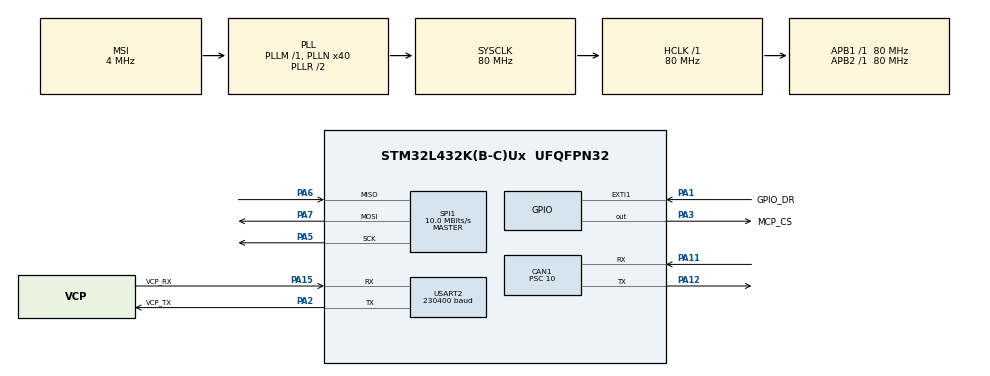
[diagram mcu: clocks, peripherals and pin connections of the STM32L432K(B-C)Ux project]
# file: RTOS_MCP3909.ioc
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CAN1.ABOM=ENABLE
CAN1.AWUM=ENABLE
CAN1.BS1=CAN_BS1_12TQ
CAN1.BS2=CAN_BS2_3TQ
CAN1.CalculateTimeBit=2000
CAN1.CalculateTimeQuantum=125.0
CAN1.Prescaler=10
CAN1.SJW=CAN_SJW_3TQ
Dma.Request0=USART2_RX
Dma.Request1=USART2_TX
Dma.Request2=SPI1_RX
Dma.Request3=SPI1_TX
Dma.SPI1_RX.2.Direction=DMA_PERIPH_TO_MEMORY
Dma.SPI1_RX.2.Instance=DMA1_Channel2
Dma.SPI1_RX.2.MemDataAlignment=DMA_MDATAALIGN_BYTE
Dma.SPI1_RX.2.MemInc=DMA_MINC_ENABLE
Dma.SPI1_RX.2.Mode=DMA_NORMAL
Dma.SPI1_RX.2.PeriphDataAlignment=DMA_PDATAALIGN_BYTE
Dma.SPI1_RX.2.PeriphInc=DMA_PINC_DISABLE
Dma.SPI1_RX.2.Priority=DMA_PRIORITY_HIGH
Dma.SPI1_TX.3.Direction=DMA_MEMORY_TO_PERIPH
Dma.SPI1_TX.3.Instance=DMA1_Channel3
Dma.SPI1_TX.3.MemDataAlignment=DMA_MDATAALIGN_BYTE
Dma.SPI1_TX.3.MemInc=DMA_MINC_ENABLE
Dma.SPI1_TX.3.Mode=DMA_NORMAL
Dma.SPI1_TX.3.PeriphDataAlignment=DMA_PDATAALIGN_BYTE
Dma.SPI1_TX.3.PeriphInc=DMA_PINC_DISABLE
Dma.SPI1_TX.3.Priority=DMA_PRIORITY_MEDIUM
Dma.USART2_RX.0.Direction=DMA_PERIPH_TO_MEMORY
Dma.USART2_RX.0.Instance=DMA1_Channel6
Dma.USART2_RX.0.MemDataAlignment=DMA_MDATAALIGN_BYTE
Dma.USART2_RX.0.MemInc=DMA_MINC_ENABLE
Dma.USART2_RX.0.Mode=DMA_CIRCULAR
Dma.USART2_RX.0.PeriphDataAlignment=DMA_PDATAALIGN_BYTE
Dma.USART2_RX.0.PeriphInc=DMA_PINC_DISABLE
Dma.USART2_RX.0.Priority=DMA_PRIORITY_HIGH
Dma.USART2_TX.1.Direction=DMA_MEMORY_TO_PERIPH
Dma.USART2_TX.1.Instance=DMA1_Channel7
Dma.USART2_TX.1.MemDataAlignment=DMA_MDATAALIGN_BYTE
Dma.USART2_TX.1.MemInc=DMA_MINC_ENABLE
Dma.USART2_TX.1.Mode=DMA_NORMAL
Dma.USART2_TX.1.PeriphDataAlignment=DMA_PDATAALIGN_BYTE
Dma.USART2_TX.1.PeriphInc=DMA_PINC_DISABLE
Dma.USART2_TX.1.Priority=DMA_PRIORITY_MEDIUM
FREERTOS.BinarySemaphores01=mcp3909_DR;mcp3909_RX
FREERTOS.INCLUDE_eTaskGetState=1
FREERTOS.INCLUDE_vTaskDelayUntil=1
FREERTOS.INCLUDE_xQueueGetMutexHolder=1
FREERTOS.INCLUDE_xSemaphoreGetMutexHolder=1
FREERTOS.INCLUDE_xTaskGetCurrentTaskHandle=1
FREERTOS.Tasks01=Application,0,512,doApplication,Default
FREERTOS.Timers01=HBTmr,TmrSendHB,osTimerPeriodic,Default
FREERTOS.configCHECK_FOR_STACK_OVERFLOW=2
FREERTOS.configENABLE_BACKWARD_COMPATIBILITY=0
FREERTOS.configLIBRARY_MAX_SYSCALL_INTERRUPT_PRIORITY=5
FREERTOS.configMAX_PRIORITIES=6
FREERTOS.configMINIMAL_STACK_SIZE=256
FREERTOS.configTIMER_QUEUE_LENGTH=8
FREERTOS.configTIMER_TASK_PRIORITY=5
FREERTOS.configTIMER_TASK_STACK_DEPTH=512
FREERTOS.configTOTAL_HEAP_SIZE=32786
FREERTOS.configUSE_MALLOC_FAILED_HOOK=1
FREERTOS.configUSE_PORT_OPTIMISED_TASK_SELECTION=1
FREERTOS.configUSE_TASK_NOTIFICATIONS=0
FREERTOS.configUSE_TIMERS=1
FREERTOS.configUSE_TRACE_FACILITY=0
Mcu.Family=STM32L4
Mcu.Name=STM32L432K(B-C)Ux
Mcu.Package=UFQFPN32
NVIC.CAN1_RX0_IRQn=true\:5\:0\:true\:false\:true\:true
NVIC.CAN1_RX1_IRQn=true\:5\:0\:true\:false\:true\:true
NVIC.CAN1_SCE_IRQn=true\:5\:0\:true\:false\:true\:true
NVIC.CAN1_TX_IRQn=true\:5\:0\:true\:false\:true\:true
NVIC.DMA1_Channel2_IRQn=true\:6\:0\:true\:false\:true\:true
NVIC.DMA1_Channel3_IRQn=true\:6\:0\:true\:false\:true\:true
NVIC.DMA1_Channel6_IRQn=true\:6\:0\:true\:false\:true\:true
NVIC.DMA1_Channel7_IRQn=true\:6\:0\:true\:false\:true\:true
NVIC.PriorityGroup=NVIC_PRIORITYGROUP_4
NVIC.SPI1_IRQn=true\:6\:0\:true\:false\:true\:true
NVIC.TIM6_DAC_IRQn=true\:0\:0\:false\:false\:true\:false
NVIC.TimeBase=TIM6_DAC_IRQn
NVIC.TimeBaseIP=TIM6
NVIC.USART2_IRQn=true\:5\:0\:false\:false\:true\:true
PA1.GPIO_Label=GPIO_DR
PA1.GPIO_ModeDefaultEXTI=GPIO_MODE_IT_FALLING
PA1.Signal=GPXTI1
PA11.Mode=Master
PA11.Signal=CAN1_RX
PA12.Mode=Master
PA12.Signal=CAN1_TX
PA13\ (JTMS-SWDIO).Mode=Serial_Wire
PA13\ (JTMS-SWDIO).Signal=SYS_JTMS-SWDIO
PA14\ (JTCK-SWCLK).Mode=Serial_Wire
PA14\ (JTCK-SWCLK).Signal=SYS_JTCK-SWCLK
PA15\ (JTDI).GPIO_Label=VCP_RX
PA15\ (JTDI).Mode=Asynchronous
PA15\ (JTDI).Signal=USART2_RX
PA2.GPIO_Label=VCP_TX
PA2.Mode=Asynchronous
PA2.Signal=USART2_TX
PA3.GPIO_Label=MCP_CS
PA3.GPIO_ModeDefaultOutputPP=GPIO_MODE_OUTPUT_OD
PA3.GPIO_PuPd=GPIO_PULLUP
PA3.PinState=GPIO_PIN_SET
PA3.Signal=GPIO_Output
PA5.Mode=Full_Duplex_Master
PA5.Signal=SPI1_SCK
PA6.Mode=Full_Duplex_Master
PA6.Signal=SPI1_MISO
PA7.Mode=Full_Duplex_Master
PA7.Signal=SPI1_MOSI
ProjectManager.HeapSize=0x200
ProjectManager.StackSize=0x400
ProjectManager.TargetToolchain=SW4STM32
RCC.ADCCLockSelection=RCC_ADCCLKSOURCE_SYSCLK
RCC.ADCFreq_Value=80000000
RCC.AHBFreq_Value=80000000
RCC.APB1Freq_Value=80000000
RCC.APB1TimFreq_Value=80000000
RCC.APB2Freq_Value=80000000
RCC.APB2TimFreq_Value=80000000
RCC.CortexFreq_Value=80000000
RCC.HCLKFreq_Value=80000000
RCC.HSE_VALUE=8000000
RCC.HSI16_VALUE=16000000
RCC.HSI48_VALUE=48000000
RCC.HSI_VALUE=16000000
RCC.LSE_VALUE=32768
RCC.MSI_VALUE=4000000
RCC.PLLMUL=RCC_PLLMUL_4
RCC.PLLN=40
RCC.PLLSAI1N=40
RCC.PREFETCH_ENABLE=1
RCC.SYSCLKFreq_VALUE=80000000
RCC.SYSCLKSource=RCC_SYSCLKSOURCE_PLLCLK
RCC.USBFreq_Value=80000000
RCC.VCOOutputFreq_Value=160000000
SPI1.BaudRatePrescaler=SPI_BAUDRATEPRESCALER_8
SPI1.CLKPhase=SPI_PHASE_1EDGE
SPI1.CLKPolarity=SPI_POLARITY_LOW
SPI1.CalculateBaudRate=10.0 MBits/s
SPI1.DataSize=SPI_DATASIZE_8BIT
SPI1.FirstBit=SPI_FIRSTBIT_MSB
SPI1.Mode=SPI_MODE_MASTER
SPI1.NSSPMode=SPI_NSS_PULSE_DISABLE
SPI1.TIMode=SPI_TIMODE_DISABLE
USART2.BaudRate=230400
USART2.WordLength=UART_WORDLENGTH_8B
VP_FREERTOS_VS_ENABLE.Mode=Enabled
VP_SYS_VS_tim6.Mode=TIM6
VP_WWDG_VS_WWDG.Mode=WWDG_Activate
WWDG.Counter=127
WWDG.Prescaler=WWDG_PRESCALER_8
WWDG.Window=127
board=NUCLEO-L432KC

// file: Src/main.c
/**
  ******************************************************************************
  * File Name          : main.c
  * Description        : Main program body
  ******************************************************************************
  *
  * Copyright (c) 2017 STMicroelectronics International N.V.
  * All rights reserved.
  *
  * Redistribution and use in source and binary forms, with or without
  * modification, are permitted, provided that the following conditions are met:
  *
  * 1. Redistribution of source code must retain the above copyright notice,
  *    this list of conditions and the following disclaimer.
  * 2. Redistributions in binary form must reproduce the above copyright notice,
  *    this list of conditions and the following disclaimer in the documentation
  *    and/or other materials provided with the distribution.
  * 3. Neither the name of STMicroelectronics nor the names of other
  *    contributors to this software may be used to endorse or promote products
  *    derived from this software without specific written permission.
  * 4. This software, including modifications and/or derivative works of this
  *    software, must execute solely and exclusively on microcontroller or
  *    microprocessor devices manufactured by or for STMicroelectronics.
  * 5. Redistribution and use of this software other than as permitted under
  *    this license is void and will automatically terminate your rights under
  *    this license.
  *
  * THIS SOFTWARE IS PROVIDED BY STMICROELECTRONICS AND CONTRIBUTORS "AS IS"
  * AND ANY EXPRESS, IMPLIED OR STATUTORY WARRANTIES, INCLUDING, BUT NOT
  * LIMITED TO, THE IMPLIED WARRANTIES OF MERCHANTABILITY, FITNESS FOR A
  * PARTICULAR PURPOSE AND NON-INFRINGEMENT OF THIRD PARTY INTELLECTUAL PROPERTY
  * RIGHTS ARE DISCLAIMED TO THE FULLEST EXTENT PERMITTED BY LAW. IN NO EVENT
  * SHALL STMICROELECTRONICS OR CONTRIBUTORS BE LIABLE FOR ANY DIRECT, INDIRECT,
  * INCIDENTAL, SPECIAL, EXEMPLARY, OR CONSEQUENTIAL DAMAGES (INCLUDING, BUT NOT
  * LIMITED TO, PROCUREMENT OF SUBSTITUTE GOODS OR SERVICES; LOSS OF USE, DATA,
  * OR PROFITS; OR BUSINESS INTERRUPTION) HOWEVER CAUSED AND ON ANY THEORY OF
  * LIABILITY, WHETHER IN CONTRACT, STRICT LIABILITY, OR TORT (INCLUDING
  * NEGLIGENCE OR OTHERWISE) ARISING IN ANY WAY OUT OF THE USE OF THIS SOFTWARE,
  * EVEN IF ADVISED OF THE POSSIBILITY OF SUCH DAMAGE.
  *
  ******************************************************************************
  */
#include "main.h"
#include "stm32l4xx_hal.h"
#include "cmsis_os.h"

/* USER CODE BEGIN Includes */
#include "../../CAN_ID.h"
#include "mcp3909.h"
/* USER CODE END Includes */

CAN_HandleTypeDef hcan1;

SPI_HandleTypeDef hspi1;
DMA_HandleTypeDef hdma_spi1_rx;
DMA_HandleTypeDef hdma_spi1_tx;

UART_HandleTypeDef huart2;
DMA_HandleTypeDef hdma_usart2_rx;
DMA_HandleTypeDef hdma_usart2_tx;

WWDG_HandleTypeDef hwwdg;

osThreadId ApplicationHandle;
osTimerId HBTmrHandle;
osSemaphoreId mcp3909_DRHandle;
osSemaphoreId mcp3909_RXHandle;

/* USER CODE BEGIN PV */
/* Private variables ---------------------------------------------------------*/
MCP3909HandleTypeDef hmcp1;
uint8_t mcpRxBuf[REG_LEN * REGS_NUM];
uint8_t mcpTxBuf[REG_LEN * REGS_NUM + CTRL_LEN];
/* USER CODE END PV */

void SystemClock_Config(void);
void Error_Handler(void);
static void MX_GPIO_Init(void);
static void MX_DMA_Init(void);
static void MX_CAN1_Init(void);
static void MX_USART2_UART_Init(void);
static void MX_WWDG_Init(void);
static void MX_SPI1_Init(void);
void doApplication(void const * argument);
void TmrSendHB(void const * argument);

/* USER CODE BEGIN PFP */
/* Private function prototypes -----------------------------------------------*/
void EM_Init(void);
/* USER CODE END PFP */

/* USER CODE BEGIN 0 */

void EM_Init(){
	hmcp1.phase[0] = 0;
	hmcp1.phase[1] = 0;
	hmcp1.phase[2] = 0;

	for(uint8_t i= 0; i < MAX_CHANNEL_NUM; i++){
		hmcp1.channel[i].PGA = PGA_1;
		hmcp1.channel[i].boost = BOOST_OFF;
		hmcp1.channel[i].dither = DITHER_ON;
		hmcp1.channel[i].reset = RESET_OFF;
		hmcp1.channel[i].shutdown = SHUTDOWN_OFF;
		hmcp1.channel[i].resolution = RES_16;
	}

	hmcp1.extCLK = 0;
	hmcp1.extVREF = 0;
	hmcp1.hspi = &hspi1;
	hmcp1.osr = OSR_32;
	hmcp1.prescale = PRESCALE_1;
	hmcp1.readType = READ_TYPE;

	hmcp1.pRxBuf = mcpRxBuf;
	hmcp1.pTxBuf = mcpTxBuf;

	HAL_NVIC_SetPriority(EXTI1_IRQn, 6, 0); // set DR pin interrupt priority
	mcp3909_init(&hmcp1);
}

// Data Ready pin triggered callback (PA1)
void HAL_GPIO_EXTI_Callback(uint16_t pinNum){
	HAL_NVIC_DisableIRQ(EXTI1_IRQn);
	mcp3909_readAllChannels(&hmcp1,hmcp1.pRxBuf);
}

// SPI DMA read channels complete callback
void HAL_SPI_TxRxCpltCallback(SPI_HandleTypeDef *hspi){
	// Check which SPI issued interrupt
	if(hspi == (hmcp1.hspi)){
		HAL_GPIO_WritePin(MCP_CS_GPIO_Port,MCP_CS_Pin, GPIO_PIN_SET);
		xSemaphoreGiveFromISR(mcp3909_RXHandle, NULL);
	}
}

// SPI DMA write reg complete callback
void HAL_SPI_TxCpltCallback(SPI_HandleTypeDef *hspi){
	// Check which SPI issued interrupt
	if(hspi == (hmcp1.hspi)){
		HAL_GPIO_WritePin(MCP_CS_GPIO_Port,MCP_CS_Pin, GPIO_PIN_SET);
	}
}
/* USER CODE END 0 */

int main(void)
{

  /* MCU Configuration----------------------------------------------------------*/

  /* Reset of all peripherals, Initializes the Flash interface and the Systick. */
  HAL_Init();

  /* Configure the system clock */
  SystemClock_Config();

  /* Initialize all configured peripherals */
  MX_GPIO_Init();
  MX_DMA_Init();
  MX_CAN1_Init();
  MX_USART2_UART_Init();
  MX_WWDG_Init();
  MX_SPI1_Init();

  /* USER CODE BEGIN 2 */
  EM_Init();
  HAL_WWDG_Refresh(&hwwdg);
  /* USER CODE END 2 */

  /* Create the semaphores(s) */
  /* definition and creation of mcp3909_DR */
  osSemaphoreDef(mcp3909_DR);
  mcp3909_DRHandle = osSemaphoreCreate(osSemaphore(mcp3909_DR), 1);

  /* definition and creation of mcp3909_RX */
  osSemaphoreDef(mcp3909_RX);
  mcp3909_RXHandle = osSemaphoreCreate(osSemaphore(mcp3909_RX), 1);

  /* Create the timer(s) */
  /* definition and creation of HBTmr */
  osTimerDef(HBTmr, TmrSendHB);
  HBTmrHandle = osTimerCreate(osTimer(HBTmr), osTimerPeriodic, NULL);

  /* USER CODE BEGIN RTOS_TIMERS */
  /* start timers, add new ones, ... */
  osTimerStart(HBTmrHandle, WD_Interval);
  /* USER CODE END RTOS_TIMERS */

  /* Create the thread(s) */
  /* definition and creation of Application */
  osThreadDef(Application, doApplication, osPriorityNormal, 0, 512);
  ApplicationHandle = osThreadCreate(osThread(Application), NULL);

  /* Start scheduler */
  osKernelStart();

  /* We should never get here as control is now taken by the scheduler */

  /* Infinite loop */
  while (1)
  {

  }

}

/** System Clock Configuration
*/
void SystemClock_Config(void)
{

  RCC_OscInitTypeDef RCC_OscInitStruct;
  RCC_ClkInitTypeDef RCC_ClkInitStruct;
  RCC_PeriphCLKInitTypeDef PeriphClkInit;

    /**Initializes the CPU, AHB and APB busses clocks
    */
  RCC_OscInitStruct.OscillatorType = RCC_OSCILLATORTYPE_MSI;
  RCC_OscInitStruct.MSIState = RCC_MSI_ON;
  RCC_OscInitStruct.MSICalibrationValue = 0;
  RCC_OscInitStruct.MSIClockRange = RCC_MSIRANGE_6;
  RCC_OscInitStruct.PLL.PLLState = RCC_PLL_ON;
  RCC_OscInitStruct.PLL.PLLSource = RCC_PLLSOURCE_MSI;
  RCC_OscInitStruct.PLL.PLLM = 1;
  RCC_OscInitStruct.PLL.PLLN = 40;
  RCC_OscInitStruct.PLL.PLLP = RCC_PLLP_DIV7;
  RCC_OscInitStruct.PLL.PLLQ = RCC_PLLQ_DIV2;
  RCC_OscInitStruct.PLL.PLLR = RCC_PLLR_DIV2;
  if (HAL_RCC_OscConfig(&RCC_OscInitStruct) != HAL_OK)
  {
    Error_Handler();
  }

    /**Initializes the CPU, AHB and APB busses clocks
    */
  RCC_ClkInitStruct.ClockType = RCC_CLOCKTYPE_HCLK|RCC_CLOCKTYPE_SYSCLK
                              |RCC_CLOCKTYPE_PCLK1|RCC_CLOCKTYPE_PCLK2;
  RCC_ClkInitStruct.SYSCLKSource = RCC_SYSCLKSOURCE_PLLCLK;
  RCC_ClkInitStruct.AHBCLKDivider = RCC_SYSCLK_DIV1;
  RCC_ClkInitStruct.APB1CLKDivider = RCC_HCLK_DIV1;
  RCC_ClkInitStruct.APB2CLKDivider = RCC_HCLK_DIV1;

  if (HAL_RCC_ClockConfig(&RCC_ClkInitStruct, FLASH_LATENCY_4) != HAL_OK)
  {
    Error_Handler();
  }

  PeriphClkInit.PeriphClockSelection = RCC_PERIPHCLK_USART2;
  PeriphClkInit.Usart2ClockSelection = RCC_USART2CLKSOURCE_PCLK1;
  if (HAL_RCCEx_PeriphCLKConfig(&PeriphClkInit) != HAL_OK)
  {
    Error_Handler();
  }

    /**Configure the main internal regulator output voltage
    */
  if (HAL_PWREx_ControlVoltageScaling(PWR_REGULATOR_VOLTAGE_SCALE1) != HAL_OK)
  {
    Error_Handler();
  }

    /**Configure the Systick interrupt time
    */
  HAL_SYSTICK_Config(HAL_RCC_GetHCLKFreq()/1000);

    /**Configure the Systick
    */
  HAL_SYSTICK_CLKSourceConfig(SYSTICK_CLKSOURCE_HCLK);

  /* SysTick_IRQn interrupt configuration */
  HAL_NVIC_SetPriority(SysTick_IRQn, 15, 0);
}

/* CAN1 init function */
static void MX_CAN1_Init(void)
{

  hcan1.Instance = CAN1;
  hcan1.Init.Prescaler = 10;
  hcan1.Init.Mode = CAN_MODE_NORMAL;
  hcan1.Init.SJW = CAN_SJW_3TQ;
  hcan1.Init.BS1 = CAN_BS1_12TQ;
  hcan1.Init.BS2 = CAN_BS2_3TQ;
  hcan1.Init.TTCM = DISABLE;
  hcan1.Init.ABOM = ENABLE;
  hcan1.Init.AWUM = ENABLE;
  hcan1.Init.NART = DISABLE;
  hcan1.Init.RFLM = DISABLE;
  hcan1.Init.TXFP = DISABLE;
  if (HAL_CAN_Init(&hcan1) != HAL_OK)
  {
    Error_Handler();
  }

}

/* SPI1 init function */
static void MX_SPI1_Init(void)
{

  hspi1.Instance = SPI1;
  hspi1.Init.Mode = SPI_MODE_MASTER;
  hspi1.Init.Direction = SPI_DIRECTION_2LINES;
  hspi1.Init.DataSize = SPI_DATASIZE_8BIT;
  hspi1.Init.CLKPolarity = SPI_POLARITY_LOW;
  hspi1.Init.CLKPhase = SPI_PHASE_1EDGE;
  hspi1.Init.NSS = SPI_NSS_SOFT;
  hspi1.Init.BaudRatePrescaler = SPI_BAUDRATEPRESCALER_8;
  hspi1.Init.FirstBit = SPI_FIRSTBIT_MSB;
  hspi1.Init.TIMode = SPI_TIMODE_DISABLE;
  hspi1.Init.CRCCalculation = SPI_CRCCALCULATION_DISABLE;
  hspi1.Init.CRCPolynomial = 7;
  hspi1.Init.CRCLength = SPI_CRC_LENGTH_DATASIZE;
  hspi1.Init.NSSPMode = SPI_NSS_PULSE_DISABLE;
  if (HAL_SPI_Init(&hspi1) != HAL_OK)
  {
    Error_Handler();
  }

}

/* USART2 init function */
static void MX_USART2_UART_Init(void)
{

  huart2.Instance = USART2;
  huart2.Init.BaudRate = 230400;
  huart2.Init.WordLength = UART_WORDLENGTH_8B;
  huart2.Init.StopBits = UART_STOPBITS_1;
  huart2.Init.Parity = UART_PARITY_NONE;
  huart2.Init.Mode = UART_MODE_TX_RX;
  huart2.Init.HwFlowCtl = UART_HWCONTROL_NONE;
  huart2.Init.OverSampling = UART_OVERSAMPLING_16;
  huart2.Init.OneBitSampling = UART_ONE_BIT_SAMPLE_DISABLE;
  huart2.AdvancedInit.AdvFeatureInit = UART_ADVFEATURE_NO_INIT;
  if (HAL_UART_Init(&huart2) != HAL_OK)
  {
    Error_Handler();
  }

}

/* WWDG init function */
static void MX_WWDG_Init(void)
{

  hwwdg.Instance = WWDG;
  hwwdg.Init.Prescaler = WWDG_PRESCALER_8;
  hwwdg.Init.Window = 127;
  hwwdg.Init.Counter = 127;
  hwwdg.Init.EWIMode = WWDG_EWI_DISABLE;
  if (HAL_WWDG_Init(&hwwdg) != HAL_OK)
  {
    Error_Handler();
  }

}

static void MX_DMA_Init(void)
{
  /* DMA controller clock enable */
  LL_AHB1_GRP1_EnableClock(LL_AHB1_GRP1_PERIPH_DMA1);

  /* DMA interrupt init */
  /* DMA1_Channel2_IRQn interrupt configuration */
  HAL_NVIC_SetPriority(DMA1_Channel2_IRQn, 6, 0);
  HAL_NVIC_EnableIRQ(DMA1_Channel2_IRQn);
  /* DMA1_Channel3_IRQn interrupt configuration */
  HAL_NVIC_SetPriority(DMA1_Channel3_IRQn, 6, 0);
  HAL_NVIC_EnableIRQ(DMA1_Channel3_IRQn);
  /* DMA1_Channel6_IRQn interrupt configuration */
  HAL_NVIC_SetPriority(DMA1_Channel6_IRQn, 6, 0);
  HAL_NVIC_EnableIRQ(DMA1_Channel6_IRQn);
  /* DMA1_Channel7_IRQn interrupt configuration */
  HAL_NVIC_SetPriority(DMA1_Channel7_IRQn, 6, 0);
  HAL_NVIC_EnableIRQ(DMA1_Channel7_IRQn);

}

/** Configure pins as
        * Analog
        * Input
        * Output
        * EVENT_OUT
        * EXTI
        * Free pins are configured automatically as Analog (this feature is enabled through
        * the Code Generation settings)
*/
static void MX_GPIO_Init(void)
{

  GPIO_InitTypeDef GPIO_InitStruct;

  /* GPIO Ports Clock Enable */
  __HAL_RCC_GPIOC_CLK_ENABLE();
  __HAL_RCC_GPIOA_CLK_ENABLE();
  __HAL_RCC_GPIOB_CLK_ENABLE();
  __HAL_RCC_GPIOH_CLK_ENABLE();

  /*Configure GPIO pins : PC14 PC15 */
  GPIO_InitStruct.Pin = GPIO_PIN_14|GPIO_PIN_15;
  GPIO_InitStruct.Mode = GPIO_MODE_ANALOG;
  GPIO_InitStruct.Pull = GPIO_NOPULL;
  HAL_GPIO_Init(GPIOC, &GPIO_InitStruct);

  /*Configure GPIO pins : PA0 PA4 PA8 PA9
                           PA10 */
  GPIO_InitStruct.Pin = GPIO_PIN_0|GPIO_PIN_4|GPIO_PIN_8|GPIO_PIN_9
                          |GPIO_PIN_10;
  GPIO_InitStruct.Mode = GPIO_MODE_ANALOG;
  GPIO_InitStruct.Pull = GPIO_NOPULL;
  HAL_GPIO_Init(GPIOA, &GPIO_InitStruct);

  /*Configure GPIO pin : GPIO_DR_Pin */
  GPIO_InitStruct.Pin = GPIO_DR_Pin;
  GPIO_InitStruct.Mode = GPIO_MODE_IT_FALLING;
  GPIO_InitStruct.Pull = GPIO_NOPULL;
  HAL_GPIO_Init(GPIO_DR_GPIO_Port, &GPIO_InitStruct);

  /*Configure GPIO pin : MCP_CS_Pin */
  GPIO_InitStruct.Pin = MCP_CS_Pin;
  GPIO_InitStruct.Mode = GPIO_MODE_OUTPUT_OD;
  GPIO_InitStruct.Pull = GPIO_PULLUP;
  GPIO_InitStruct.Speed = GPIO_SPEED_FREQ_LOW;
  HAL_GPIO_Init(MCP_CS_GPIO_Port, &GPIO_InitStruct);

  /*Configure GPIO pins : PB0 PB1 PB3 PB4
                           PB5 PB6 PB7 */
  GPIO_InitStruct.Pin = GPIO_PIN_0|GPIO_PIN_1|GPIO_PIN_3|GPIO_PIN_4
                          |GPIO_PIN_5|GPIO_PIN_6|GPIO_PIN_7;
  GPIO_InitStruct.Mode = GPIO_MODE_ANALOG;
  GPIO_InitStruct.Pull = GPIO_NOPULL;
  HAL_GPIO_Init(GPIOB, &GPIO_InitStruct);

  /*Configure GPIO pin : PH3 */
  GPIO_InitStruct.Pin = GPIO_PIN_3;
  GPIO_InitStruct.Mode = GPIO_MODE_ANALOG;
  GPIO_InitStruct.Pull = GPIO_NOPULL;
  HAL_GPIO_Init(GPIOH, &GPIO_InitStruct);

  /*Configure GPIO pin Output Level */
  HAL_GPIO_WritePin(MCP_CS_GPIO_Port, MCP_CS_Pin, GPIO_PIN_SET);

}

/* doApplication function */
void doApplication(void const * argument)
{

  /* USER CODE BEGIN 5 */
  uint32_t PreviousWakeTime = osKernelSysTick();
  /* Infinite loop */
  for(;;)
  {
	mcp3909_wakeup(&hmcp1);
	xSemaphoreTake(mcp3909_RXHandle, portMAX_DELAY);
	mcp3909_parseChannelData(&hmcp1);
	// XXX: Energy metering algorithm
	mcp3909_sleep(&hmcp1);
    osDelayUntil(&PreviousWakeTime, EM_Interval);
  }
  /* USER CODE END 5 */
}

/* TmrSendHB function */
void TmrSendHB(void const * argument)
{
  /* USER CODE BEGIN TmrSendHB */
  taskENTER_CRITICAL();
  HAL_WWDG_Refresh(&hwwdg);
  taskEXIT_CRITICAL();

  /* USER CODE END TmrSendHB */
}

void HAL_TIM_PeriodElapsedCallback(TIM_HandleTypeDef *htim)
{
  if (htim->Instance == TIM6) {
    HAL_IncTick();
  }
}

void Error_Handler(void)
{
  while(1)
  {
  }
}

/************************ (C) COPYRIGHT STMicroelectronics *****END OF FILE****/
